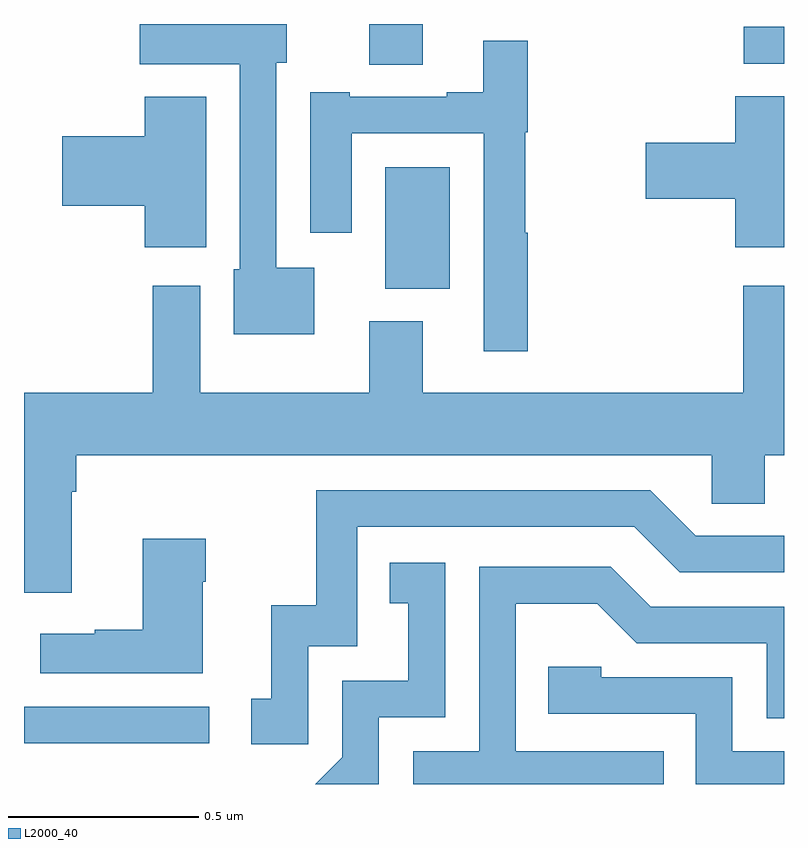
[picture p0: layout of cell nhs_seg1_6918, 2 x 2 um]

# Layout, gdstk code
import gdstk
lib = gdstk.Library(unit=1e-6, precision=1e-09)
def R(c, l, rs):  # rectangles x0, y0, x1, y1
    for r in rs: c.add(gdstk.rectangle(r[:2], r[2:], *l))
def P(c, l, *ps):  # polygons
    for p in ps: c.add(gdstk.Polygon(p, *l))
L2000_40 = (2000, 40)

nhs_seg1_6918 = lib.new_cell('nhs_seg1_6918')
R(nhs_seg1_6918, L2000_40, [(197,552.306,197.488,552.402), (197.951,553.502,198.121,553.822), (197.909,554.092,198.049,554.199), (198.894,554.094,199,554.192)])
P(nhs_seg1_6918, L2000_40, [(197.764,553.558),(197.664,553.558),(197.664,554.097),(197.692,554.097),(197.692,554.199),(197.304,554.199),(197.304,554.093),(197.568,554.093),(197.568,553.554),(197.552,553.554),(197.552,553.382),(197.764,553.382)],
  [(198.326,553.65),(198.319,553.65),(198.319,553.914),(198.326,553.914),(198.326,554.155),(198.209,554.155),(198.209,554.02),(198.113,554.02),(198.113,554.007),(197.857,554.007),(197.857,554.02),(197.753,554.02),(197.753,553.65),(197.863,553.65),(197.863,553.911),(198.21,553.911),(198.21,553.338),(198.326,553.338)],
  [(199,554.009),(198.872,554.009),(198.872,553.886),(198.636,553.886),(198.636,553.739),(198.872,553.739),(198.872,553.611),(199,553.611)],
  [(197.479,554.008),(197.318,554.008),(197.318,553.904),(197.1,553.904),(197.1,553.721),(197.318,553.721),(197.318,553.611),(197.479,553.611)],
  [(197.125,552.968),(197.138,552.968),(197.138,553.064),(198.81,553.064),(198.81,552.937),(198.949,552.937),(198.949,553.064),(199,553.064),(199,553.51),(198.893,553.51),(198.893,553.228),(198.049,553.228),(198.049,553.417),(197.909,553.417),(197.909,553.228),(197.464,553.228),(197.464,553.51),(197.339,553.51),(197.339,553.228),(197,553.228),(197,552.702),(197.125,552.702)],
  [(197.748,552.561),(197.877,552.561),(197.877,552.876),(198.606,552.876),(198.726,552.756),(199,552.756),(199,552.852),(198.768,552.852),(198.648,552.972),(197.769,552.972),(197.769,552.67),(197.651,552.67),(197.651,552.423),(197.598,552.423),(197.598,552.303),(197.748,552.303)],
  [(197.47,552.731),(197.478,552.731),(197.478,552.844),(197.312,552.844),(197.312,552.605),(197.186,552.605),(197.186,552.595),(197.043,552.595),(197.043,552.491),(197.47,552.491)],
  [(197.934,552.375),(198.108,552.375),(198.108,552.781),(197.962,552.781),(197.962,552.675),(198.011,552.675),(198.011,552.471),(197.838,552.471),(197.838,552.27),(197.767,552.199),(197.934,552.199)],
  [(198.683,552.285),(198.294,552.285),(198.294,552.674),(198.508,552.674),(198.612,552.57),(198.954,552.57),(198.954,552.372),(199,552.372),(199,552.666),(198.649,552.666),(198.544,552.771),(198.198,552.771),(198.198,552.285),(198.024,552.285),(198.024,552.199),(198.683,552.199)],
  [(199,552.285),(198.864,552.285),(198.864,552.48),(198.519,552.48),(198.519,552.507),(198.379,552.507),(198.379,552.384),(198.768,552.384),(198.768,552.199),(199,552.199)])

lib.write_gds('nhs_seg1_6918.gds')
